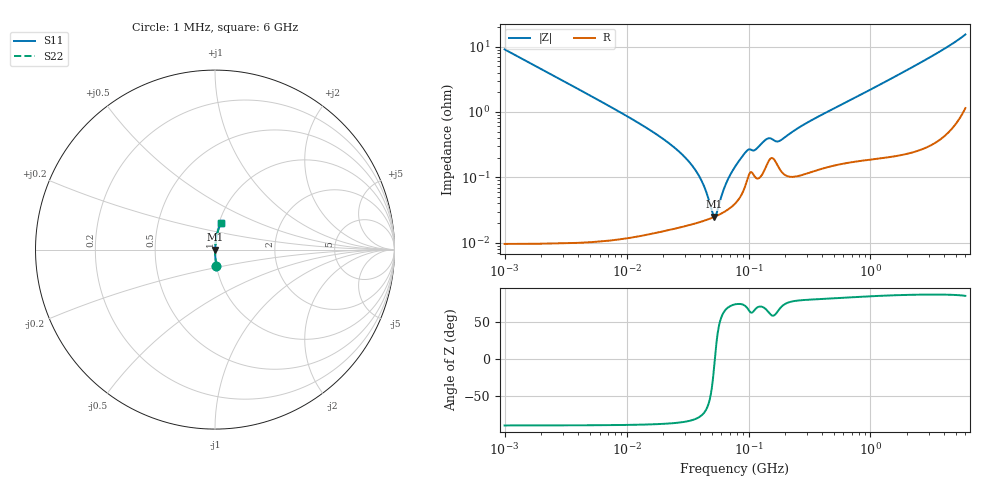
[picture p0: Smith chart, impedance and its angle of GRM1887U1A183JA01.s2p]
!Murata Part Number: GRM1887U1A183JA01
!These Parameters are Measured in Series Mode Connection
!Data Generated on Mar 30, 2021
!  o--ll--o
!Port1  Port2
!  o------o
!Operation Temp=25[degC], DC Bias Voltage=0[V]
!Freq. Start=1000[kHz] Stop=6[GHz] 401[Steps]
# Hz S RI R 50
!Freq.(Hz) S11(Real) S11(Imag) S21(Real) S21(Imag) S12(Real) S12(Imag) S22(Real) S22(Imag)
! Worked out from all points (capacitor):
!   401 points, 1 MHz to 6 GHz, reference 50 ohm
!   read as one part in series: C = 17.6 nF near 1.044 MHz
!   lowest |Z| = 25.2 mohm at 52.37 MHz (marker M1)
!   series resonance near 52.94 MHz, so ESL is about 510 pH
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1000000  0.00821 -0.0897  0.9918 0.0897  0.9918 0.0897  0.00821 -0.0897
4293785  0.000538 -0.0209  0.9995 0.0209  0.9995 0.0209  0.000538 -0.0209
1.047372e7  0.000187 -0.00827  0.9998 0.00827  0.9998 0.00827  0.000187 -0.00827
1.843659e7  0.000163 -0.00429  0.9998 0.00429  0.9998 0.00429  0.000163 -0.00429
2.727078e7  0.000177 -0.00242  0.9998 0.00242  0.9998 0.00242  0.000177 -0.00242
3.618157e7  0.000198 -0.00133  0.9998 0.00133  0.9998 0.00133  0.000198 -0.00133
4.305766e7  0.000218 -0.000711  0.9998 0.000711  0.9998 0.000711  0.000218 -0.000711
5.013812e7  0.000241 -0.000187  0.9998 0.000187  0.9998 0.000187  0.000241 -0.000187
5.236714e7  0.000249 -3.74e-05  0.9998 3.74e-05  0.9998 3.74e-05  0.000249 -3.74e-05
5.469524e7  0.000258 0.000112  0.9997 -0.000112  0.9997 -0.000112  0.000258 0.000112
6.097846e7  0.000286 0.000493  0.9997 -0.000493  0.9997 -0.000493  0.000286 0.000493
6.652088e7  0.000316 0.000807  0.9997 -0.000807  0.9997 -0.000807  0.000316 0.000807
7.745967e7  0.000398 0.0014  0.9996 -0.0014  0.9996 -0.0014  0.000398 0.0014
9.83954e7  0.000968 0.00243  0.999 -0.00243  0.999 -0.00243  0.000968 0.00243
1.145757e8  0.000994 0.00248  0.999 -0.00248  0.999 -0.00248  0.000994 0.00248
1.455431e8  0.00175 0.00354  0.9982 -0.00354  0.9982 -0.00354  0.00175 0.00354
1.694764e8  0.00164 0.00313  0.9984 -0.00313  0.9984 -0.00313  0.00164 0.00313
1.809028e8  0.00133 0.00338  0.9987 -0.00338  0.9987 -0.00338  0.00133 0.00338
3.325952e8  0.00127 0.00746  0.9987 -0.00746  0.9987 -0.00746  0.00127 0.00746
1.428092e9  0.003 0.031  0.997 -0.031  0.997 -0.031  0.003 0.031
3.335232e9  0.0088 0.0739  0.9912 -0.0739  0.9912 -0.0739  0.0088 0.0739
6e9  0.0333 0.1457  0.9667 -0.1457  0.9667 -0.1457  0.0333 0.1457
